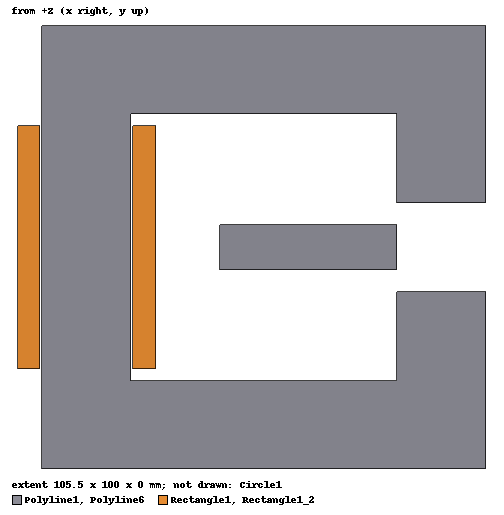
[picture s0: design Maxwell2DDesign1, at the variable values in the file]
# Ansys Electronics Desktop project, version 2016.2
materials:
  vacuum: permittivity=1
  copper: permeability=0.999991 conductivity=58000000
  iron: permeability=4000 conductivity=10300000
  ferrite: permittivity=12 permeability=1000 conductivity=0.01

design Maxwell2DDesign1 (Maxwell 2D, Magnetostatic, XY geometry, model units mm)
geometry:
  Polyline1 [ferrite] = polyline(z=0mm, xy in mm: (100, 300) (100, 200) (200, 200) (200, 240) (180, 240) (180, 220) (120, 220) (120, 280) (180, 280) (180, 260) (200, 260) (200, 280) (200, 300) (100, 300), closed, covered)
  Polyline6 [ferrite] = polyline(z=0mm, xy in mm: (230, 255) (270, 255) (270, 245) (230, 245) (230, 255), closed, covered)
  Rectangle1 [copper] = rectangle(corner=(120.5mm, 277.5mm, 0mm), x_size=5mm, y_size=-55mm)
  Rectangle1_2 [copper] = Rectangle1.duplicate_mirror(point=(110mm, 250mm, 0mm), normal=(-1mm, 0mm, 0mm))
  Circle1 [vacuum] = circle(normal=Z, centre=(150mm, 250mm, 0mm), radius=245.15301mm)
  Polyline6.move(-10mm, 0mm, 0mm)
  Polyline6.move(-10mm, 0mm, 0mm)
  Polyline6.move(-10mm, 0mm, 0mm)
  Polyline6.move(-10mm, 0mm, 0mm)
  Polyline6.move(10mm, 0mm, 0mm)
  Polyline6.move(-10mm, 0mm, 0mm)
  Polyline6.move(-10mm, 0mm, 0mm)
  Polyline6.move(-10mm, 0mm, 0mm)
  Polyline6.move(-10mm, 0mm, 0mm)
  Polyline6.move(-10mm, 0mm, 0mm)
  Polyline6.move(-10mm, 0mm, 0mm)
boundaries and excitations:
  Balloon2: Balloon Edges=Circle1.edge(1 of 1)
  Current1: Current Objects=Rectangle1_2 Current=8500A IsPositive=true
  Current2: Current Objects=Rectangle1 Current=8500A IsPositive=true
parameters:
  Force1: Force Reference_CS=Global Objects=Polyline6
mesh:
  initial mesh: MeshMethod=AnsoftClassic
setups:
  Setup1: Magnetostatic MaximumPasses=10 MinimumPasses=2 MinimumConvergedPasses=1 PercentRefinement=30 PercentError=1 NonLinearResidual=0.0001
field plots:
  Mag_B1: B over Polyline1, Polyline6, Circle1 on Setup1 : LastAdaptive
